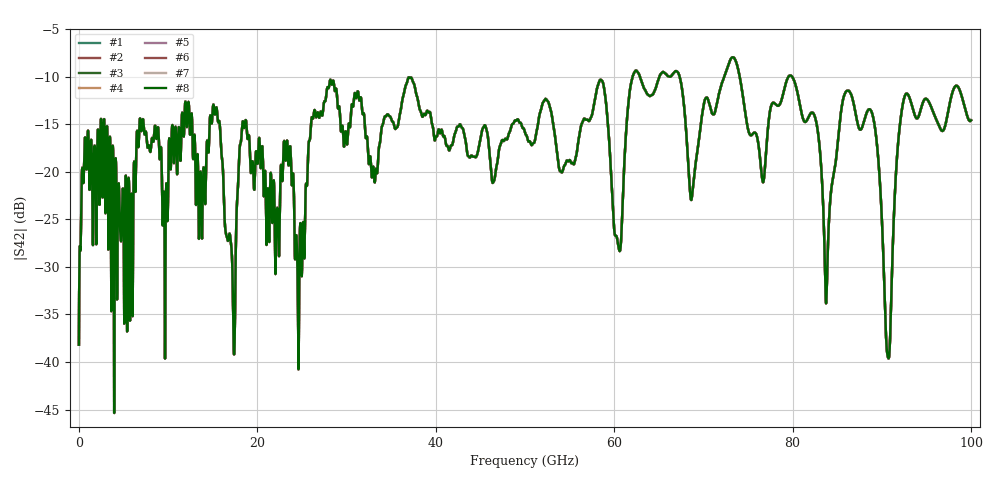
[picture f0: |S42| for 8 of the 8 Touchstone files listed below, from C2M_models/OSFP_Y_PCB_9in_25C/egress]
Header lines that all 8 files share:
# GHz S RI R 45
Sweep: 25 MHz to 100 GHz
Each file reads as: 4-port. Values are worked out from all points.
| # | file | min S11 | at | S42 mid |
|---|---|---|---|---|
| 1 | C2M_Y_OSFP224_9in_host_PCB_25C_FEXT_TP0_Tx1_to_TP1a_Tx7.s4p | -51.5 dB | 33.42 GHz | -15.9 dB at 50.02 GHz |
| 2 | C2M_Y_OSFP224_9in_host_PCB_25C_FEXT_TP0_Tx2_to_TP1a_Tx7.s4p | -49.8 dB | 4.05 GHz | -15.9 dB at 50.02 GHz |
| 3 | C2M_Y_OSFP224_9in_host_PCB_25C_NEXT_TP1a_Rx1_to_TP1a_Tx7.s4p | -42.7 dB | 19.57 GHz | -15.9 dB at 50.02 GHz |
| 4 | C2M_Y_OSFP224_9in_host_PCB_25C_NEXT_TP1a_Rx3_to_TP1a_Tx7.s4p | -61.0 dB | 32.58 GHz | -15.9 dB at 50.02 GHz |
| 5 | C2M_Y_OSFP224_9in_host_PCB_25C_NEXT_TP1a_Rx4_to_TP1a_Tx7.s4p | -51.3 dB | 55.02 GHz | -15.9 dB at 50.02 GHz |
| 6 | C2M_Y_OSFP224_9in_host_PCB_25C_NEXT_TP1a_Rx5_to_TP1a_Tx7.s4p | -50.2 dB | 1.55 GHz | -15.9 dB at 50.02 GHz |
| 7 | C2M_Y_OSFP224_9in_host_PCB_25C_NEXT_TP1a_Rx7_to_TP1a_Tx7.s4p | -53.5 dB | 7.2 GHz | -15.9 dB at 50.02 GHz |
| 8 | C2M_Y_OSFP224_9in_host_PCB_25C_NEXT_TP1a_Rx8_to_TP1a_Tx7.s4p | -46.5 dB | 54.95 GHz | -15.9 dB at 50.02 GHz |
